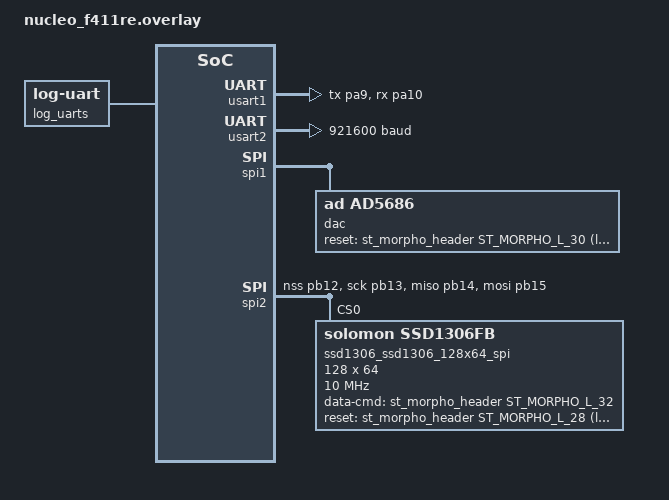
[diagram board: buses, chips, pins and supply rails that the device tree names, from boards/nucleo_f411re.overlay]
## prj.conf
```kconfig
# CONFIG_DEBUG=y
# CONFIG_DEBUG_OPTIMIZATIONS=y
# CONFIG_KERNEL_LOG_LEVEL_DBG=y

CONFIG_GPIO=y
CONFIG_LOG=y
CONFIG_LOG_PROCESS_THREAD_STACK_SIZE=2048
# CONFIG_LOG_THREAD_ID_PREFIX=y
CONFIG_LOG_BACKEND_UART=y
# CONFIG_LOG_BACKEND_UART_ASYNC=y
CONFIG_LOG_CMDS=y

# CONFIG_UART_ASYNC_API=y

CONFIG_SHELL=y
CONFIG_SHELL_LOG_BACKEND=n
CONFIG_UART_SHELL=y

# command used in GDB to store trace data: 
# dump binary value build/trace.bin *RecorderDataPtr
# CONFIG_TRACING=y
# CONFIG_PERCEPIO_TRACERECORDER=y
# CONFIG_PERCEPIO_TRC_CFG_CTRL_TASK_STACK_SIZE=1048
# CONFIG_PERCEPIO_TRC_CFG_STREAM_PORT_RINGBUFFER=y
# CONFIG_PERCEPIO_TRC_CFG_STREAM_PORT_RINGBUFFER_SIZE=32768

# Copy form zephyr/samples/subsys/display/lvgl/prj.conf start
CONFIG_LV_Z_MEM_POOL_SIZE=16384
# CONFIG_LV_Z_SHELL=y
CONFIG_MAIN_STACK_SIZE=4096

CONFIG_DISPLAY=y
CONFIG_DISPLAY_LOG_LEVEL_ERR=y


CONFIG_LVGL=y
CONFIG_LV_USE_LOG=y
CONFIG_LV_USE_LABEL=y
CONFIG_LV_USE_ARC=y
CONFIG_LV_USE_MONKEY=y
CONFIG_LV_FONT_MONTSERRAT_14=y
# Copy from zephyr/samples/subsys/display/lvgl/prj.conf end
# CONFIG_LV_LOG_LEVEL_TRACE=y

CONFIG_LV_COLOR_DEPTH_1=y
CONFIG_LV_Z_VDB_SIZE=64
CONFIG_LV_Z_BITS_PER_PIXEL=1
CONFIG_LV_USE_THEME_MONO=y
CONFIG_LV_DPI_DEF=148
CONFIG_LV_Z_COLOR_MONO_HW_INVERSION=y

# CONFIG_INSTRUMENTATION=y
# CONFIG_INSTRUMENTATION_MODE_CALLGRAPH_TRACE_BUFFER_SIZE=16384
# CONFIG_INSTRUMENTATION_MODE_CALLGRAPH=y    # For tracing
# CONFIG_INSTRUMENTATION_MODE_STATISTICAL=y  # For profiling

CONFIG_LOG_PRINTK=n
```

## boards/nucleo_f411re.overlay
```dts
/ {
	chosen {
		zephyr,display = &ssd1306_ssd1306_128x64_spi;
        zephyr,log-uart=&log_uarts;
        zephyr,console = &usart1;
        zephyr,shell-uart = &usart1;
        zephyr,tracing-uart = <>;
	};/*  */

    log_uarts: log_uart_node {
        compatible = "zephyr,log-uart";
        uarts=<&usart2>;
        status = "okay";
    };

    sram@2001E000 {
        compatible = "zephyr,memory-region", "mmio-sram";
        reg = <0x2001E000 DT_SIZE_K(8)>;
        zephyr,memory-region = "RetainedMem";

        retainedmem {
            compatible = "zephyr,retained-ram";
            status = "okay";
            #address-cells = <1>;
            #size-cells = <1>;
            instrumentation_triggers: retention@0 {
                compatible = "zephyr,retention";
                status = "okay";
                reg = <0x0 0x20>;
                prefix = [be ef];
            };
        };
    };
};


&dma1 {
    status="okay";
};
&dma2 {
    status="okay";
};

&usart1 {
    pinctrl-0 = <&usart1_tx_pa9 &usart1_rx_pa10>;
    status="okay";
};

&usart2 {
    current-speed = <921600>;
	dmas = <&dma1 6 4 (STM32_DMA_PERIPH_TX) STM32_DMA_FIFO_FULL
		&dma1 5 4 (STM32_DMA_MODE_CYCLIC | STM32_DMA_PERIPH_RX | STM32_DMA_MEM_8BITS) STM32_DMA_FIFO_FULL>;
	dma-names = "tx", "rx";
	fifo-enable;
};


&spi1{
    /delete-node/ ssd1306@0;

};

&spi2 {
    pinctrl-0 = <&spi2_nss_pb12 &spi2_sck_pb13
                 &spi2_miso_pb14 &spi2_mosi_pb15>;
	pinctrl-names = "default";
	status = "okay";

	ssd1306_ssd1306_128x64_spi: ssd1306@0 {
		compatible = "solomon,ssd1306fb";
		reg = <0x0>;
		spi-max-frequency = <10000000>;
		width = <128>;
		height = <64>;
		segment-offset = <0>;
		page-offset = <0>;
		display-offset = <0>;
		multiplex-ratio = <63>;
		segment-remap;
		com-invdir;
        inversion-on;
		prechargep = <0x22>;
		data-cmd-gpios = <&st_morpho_header ST_MORPHO_L_32 0>;
		reset-gpios = <&st_morpho_header ST_MORPHO_L_28 GPIO_ACTIVE_LOW>;
	};
};



//TODO
&spi1 {
    dac: dac_0 {
        compatible = "ad,ad5686";
        reset-gpios = <&st_morpho_header ST_MORPHO_L_30 GPIO_ACTIVE_LOW>;
        status = "okay";
    };
};

&sram0 {
    reg = <0x20000000 DT_SIZE_K(120)>;
};
```

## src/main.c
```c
/*
 * Copyright (c) 2016 Intel Corporation
 *
 * SPDX-License-Identifier: Apache-2.0
 */

 #include <stdio.h>
 #include <zephyr/kernel.h>
 #include <string.h>
 #include <zephyr/drivers/gpio.h>
 
#include <zephyr/drivers/display.h>
#include <lvgl.h>
#include <lvgl_input_device.h>

 #include "zephyr/logging/log.h"
 
LOG_MODULE_REGISTER(main);

/* 1000 msec = 1 sec */
#define SLEEP_TIME_MS   1000

/* The devicetree node identifier for the "led0" alias. */
#define LED0_NODE DT_ALIAS(led0)

/*
 * A build error on this line means your board is unsupported.
 * See the sample documentation for information on how to fix this.
 */
static const struct gpio_dt_spec led = GPIO_DT_SPEC_GET(LED0_NODE, gpios);

int main(void)
{
	int ret;
	bool led_state = true;

	if (!gpio_is_ready_dt(&led)) {
		return 0;
	}

	ret = gpio_pin_configure_dt(&led, GPIO_OUTPUT_ACTIVE);
	if (ret < 0) {
		return 0;
	}
 

    extern int32_t led_send();
    extern int32_t adc_send();
	while (1) {
        ret = gpio_pin_toggle_dt(&led);
		if (ret < 0) {
            return 0;
		}
        
		led_state = !led_state;
		LOG_INF("LED state: %s\n", led_state ? "ON" : "OFF");
        // led_send();
        adc_send();
		k_msleep(SLEEP_TIME_MS);
	}
	return 0;
}



static uint32_t count;

#ifdef CONFIG_RESET_COUNTER_SW0
static struct gpio_dt_spec button_gpio = GPIO_DT_SPEC_GET_OR(
		DT_ALIAS(sw0), gpios, {0});
static struct gpio_callback button_callback;

static void button_isr_callback(const struct device *port,
				struct gpio_callback *cb,
				uint32_t pins)
{
	ARG_UNUSED(port);
	ARG_UNUSED(cb);
	ARG_UNUSED(pins);

	count = 0;
}
#endif /* CONFIG_RESET_COUNTER_SW0 */

#ifdef CONFIG_LV_Z_ENCODER_INPUT
static const struct device *lvgl_encoder =
	DEVICE_DT_GET(DT_COMPAT_GET_ANY_STATUS_OKAY(zephyr_lvgl_encoder_input));
#endif /* CONFIG_LV_Z_ENCODER_INPUT */

#ifdef CONFIG_LV_Z_KEYPAD_INPUT
static const struct device *lvgl_keypad =
	DEVICE_DT_GET(DT_COMPAT_GET_ANY_STATUS_OKAY(zephyr_lvgl_keypad_input));
#endif /* CONFIG_LV_Z_KEYPAD_INPUT */

static void lv_btn_click_callback(lv_event_t *e)
{
	ARG_UNUSED(e);

	count = 0;
}

int display_thread(void)
{
	char count_str[11] = {0};
	const struct device *display_dev;
	lv_obj_t *hello_world_label;
	lv_obj_t *count_label;
	lv_obj_t *bar;

	display_dev = DEVICE_DT_GET(DT_CHOSEN(zephyr_display));
	if (!device_is_ready(display_dev)) {
		LOG_ERR("Device not ready, aborting test");
		return 0;
	}

#ifdef CONFIG_RESET_COUNTER_SW0
	if (gpio_is_ready_dt(&button_gpio)) {
		int err;

		err = gpio_pin_configure_dt(&button_gpio, GPIO_INPUT);
		if (err) {
			LOG_ERR("failed to configure button gpio: %d", err);
			return 0;
		}

		gpio_init_callback(&button_callback, button_isr_callback,
				   BIT(button_gpio.pin));

		err = gpio_add_callback(button_gpio.port, &button_callback);
		if (err) {
			LOG_ERR("failed to add button callback: %d", err);
			return 0;
		}

		err = gpio_pin_interrupt_configure_dt(&button_gpio,
						      GPIO_INT_EDGE_TO_ACTIVE);
		if (err) {
			LOG_ERR("failed to enable button callback: %d", err);
			return 0;
		}
	}
#endif /* CONFIG_RESET_COUNTER_SW0 */

#ifdef CONFIG_LV_Z_ENCODER_INPUT
	lv_obj_t *arc;
	lv_group_t *arc_group;

	arc = lv_arc_create(lv_screen_active());
	lv_obj_align(arc, LV_ALIGN_CENTER, 0, -15);
	lv_obj_set_size(arc, 150, 150);

	arc_group = lv_group_create();
	lv_group_add_obj(arc_group, arc);
	lv_indev_set_group(lvgl_input_get_indev(lvgl_encoder), arc_group);
#endif /* CONFIG_LV_Z_ENCODER_INPUT */

#ifdef CONFIG_LV_Z_KEYPAD_INPUT
	lv_obj_t *btn_matrix;
	lv_group_t *btn_matrix_group;
	static const char *const btnm_map[] = {"1", "2", "3", "4", ""};

	btn_matrix = lv_buttonmatrix_create(lv_screen_active());
	lv_obj_align(btn_matrix, LV_ALIGN_CENTER, 0, 70);
	lv_buttonmatrix_set_map(btn_matrix, (const char **)btnm_map);
	lv_obj_set_size(btn_matrix, 100, 50);

	btn_matrix_group = lv_group_create();
	lv_group_add_obj(btn_matrix_group, btn_matrix);
	lv_indev_set_group(lvgl_input_get_indev(lvgl_keypad), btn_matrix_group);
#endif /* CONFIG_LV_Z_KEYPAD_INPUT */

	if (IS_ENABLED(CONFIG_LV_Z_POINTER_INPUT)) {
		lv_obj_t *hello_world_button;

		hello_world_button = lv_button_create(lv_screen_active());
		lv_obj_align(hello_world_button, LV_ALIGN_CENTER, 0, -15);
		lv_obj_add_event_cb(hello_world_button, lv_btn_click_callback, LV_EVENT_CLICKED,
				    NULL);
		hello_world_label = lv_label_create(hello_world_button);
	} else {
		hello_world_label = lv_label_create(lv_screen_active());
	}

	bar = lv_bar_create(lv_screen_active());
    lv_obj_set_size(bar, 100, 10);
	lv_bar_set_value(bar, 80, LV_ANIM_ON);
    lv_bar_set_mode(bar, LV_BAR_MODE_SYMMETRICAL);
	lv_obj_align(bar, LV_ALIGN_TOP_MID, 0, 0);

	lv_label_set_text(hello_world_label, "Hello world!");
	lv_obj_align(hello_world_label, LV_ALIGN_CENTER, 0, 0);

	count_label = lv_label_create(lv_screen_active());
	lv_obj_align(count_label, LV_ALIGN_BOTTOM_MID, 0, 0);

	lv_timer_handler();
	display_blanking_off(display_dev);

	while (1) {
		if ((count % 100) == 0U) {
			sprintf(count_str, "%d", count/100U);
			lv_label_set_text(count_label, count_str);
            lv_bar_set_value(bar, 00, LV_ANIM_ON);
		}
        if (count % 50 == 0) {
            lv_bar_set_value(bar, 100, LV_ANIM_ON);
        }

		lv_timer_handler();
		++count;
		k_sleep(K_MSEC(10));
	}
}

K_THREAD_DEFINE(oled_thread, 8*1024, display_thread, NULL, NULL, NULL, 7, 0, 100);
```

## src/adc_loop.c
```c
#include <stdlib.h>
#include <sys/_stdint.h>
#include <sys/errno.h>
#include <zephyr/kernel.h>


#include <zephyr/logging/log.h>

LOG_MODULE_REGISTER(adc_loop);

static int32_t isInit = 0;
static struct k_sem adc_sem;


int32_t adc_send() {
    if (isInit == 0) {
        LOG_INF("ADC loop not initialized");
        return ENOENT;
    }
    k_sem_give(&adc_sem);

    return 0;
}


static void adc_loop(void *p1, void *p2, void *p3)
{

    k_sem_init(&adc_sem, 0, 1);
    if (isInit == 0) {
        isInit = 1;
        LOG_INF("ADC loop initialized");
    }

    while (1) {
        k_timeout_t timeout = K_MSEC(rand() % 100);

        k_sem_take(&adc_sem, timeout);
        LOG_INF("ADC loop running");
        /* Add your LED control code here */
    }
}



K_THREAD_DEFINE(adc_thread, 2*1024, adc_loop, NULL, NULL, NULL, 7, 0, 0);
```

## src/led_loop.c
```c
#include <stdlib.h>
#include <sys/_stdint.h>
#include <sys/errno.h>
#include <zephyr/kernel.h>


#include <zephyr/logging/log.h>

LOG_MODULE_REGISTER(led_loop);

static int32_t isInit = 0;
static struct k_sem led_sem;


int32_t led_send() {
    if (isInit == 0) {
        LOG_INF("LED loop not initialized");
        return ENOENT;
    }
    k_sem_give(&led_sem);

    return 0;
}


static void led_loop(void *p1, void *p2, void *p3)
{

    k_sem_init(&led_sem, 0, 1);
    if (isInit == 0) {
        isInit = 1;
        LOG_INF("LED loop initialized");
    }

    while (1) {
        k_timeout_t timeout = K_MSEC(rand() % 100);

        k_sem_take(&led_sem, timeout);
        LOG_INF("LED loop running");
        /* Add your LED control code here */
    }
}



K_THREAD_DEFINE(led_thread, 2*1024, led_loop, NULL, NULL, NULL, 7, 0, 0);
```
